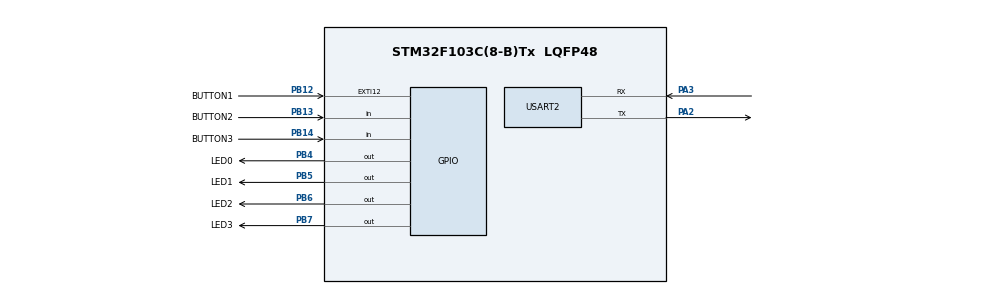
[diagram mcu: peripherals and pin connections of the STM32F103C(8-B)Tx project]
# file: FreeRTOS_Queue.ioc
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Mcu.Family=STM32F1
Mcu.Name=STM32F103C(8-B)Tx
Mcu.Package=LQFP48
NVIC.EXTI15_10_IRQn=true\:5\:0\:true\:false\:true\:true\:true\:true
NVIC.PriorityGroup=NVIC_PRIORITYGROUP_4
NVIC.USART2_IRQn=true\:0\:0\:false\:false\:true\:true\:true\:true
PA13.Mode=Serial_Wire
PA13.Signal=SYS_JTMS-SWDIO
PA14.Mode=Serial_Wire
PA14.Signal=SYS_JTCK-SWCLK
PA2.Mode=Asynchronous
PA2.Signal=USART2_TX
PA3.Mode=Asynchronous
PA3.Signal=USART2_RX
PB12.GPIO_Label=BUTTON1
PB12.GPIO_ModeDefaultEXTI=GPIO_MODE_IT_FALLING
PB12.GPIO_PuPd=GPIO_PULLUP
PB12.Signal=GPXTI12
PB13.GPIO_Label=BUTTON2
PB13.GPIO_PuPd=GPIO_PULLUP
PB13.Signal=GPIO_Input
PB14.GPIO_Label=BUTTON3
PB14.GPIO_PuPd=GPIO_PULLUP
PB14.Signal=GPIO_Input
PB4.GPIO_Label=LED0
PB4.Signal=GPIO_Output
PB5.GPIO_Label=LED1
PB5.Signal=GPIO_Output
PB6.GPIO_Label=LED2
PB6.Signal=GPIO_Output
PB7.GPIO_Label=LED3
PB7.Signal=GPIO_Output
ProjectManager.HeapSize=0x200
ProjectManager.StackSize=0x400
ProjectManager.TargetToolchain=STM32CubeIDE
RCC.APB1Freq_Value=8000000
RCC.APB2Freq_Value=8000000
USART2.VirtualMode=VM_ASYNC
board=custom

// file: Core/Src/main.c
/* USER CODE BEGIN Header */
/**
  ******************************************************************************
  * @file           : main.c
  * @brief          : Main program body
  ******************************************************************************
  * @attention
  *
  * Copyright (c) 2023 STMicroelectronics.
  * All rights reserved.
  *
  * This software is licensed under terms that can be found in the LICENSE file
  * in the root directory of this software component.
  * If no LICENSE file comes with this software, it is provided AS-IS.
  *
  ******************************************************************************
  */
/* USER CODE END Header */
#include "main.h"

/* USER CODE BEGIN PV */
TaskHandle_t   status_task_Handle;
xQueueHandle	button_event_queue;

static void Status_Led_Task( void *pvParameters );
static void Switch_Task( void *pvParameters );
/* USER CODE END PV */

void SystemClock_Config(void);
static void MX_GPIO_Init(void);
static void MX_USART2_UART_Init(void);

int main(void)
{

  /* MCU Configuration--------------------------------------------------------*/

  /* Reset of all peripherals, Initializes the Flash interface and the Systick. */
  LL_APB2_GRP1_EnableClock(LL_APB2_GRP1_PERIPH_AFIO);
  LL_APB1_GRP1_EnableClock(LL_APB1_GRP1_PERIPH_PWR);

  /* System interrupt init*/
  NVIC_SetPriorityGrouping(NVIC_PRIORITYGROUP_4);

  /* SysTick_IRQn interrupt configuration */
  NVIC_SetPriority(SysTick_IRQn, NVIC_EncodePriority(NVIC_GetPriorityGrouping(),15, 0));

  /** NOJTAG: JTAG-DP Disabled and SW-DP Enabled
  */
  LL_GPIO_AF_Remap_SWJ_NOJTAG();

  /* Configure the system clock */
  SystemClock_Config();

  /* Initialize all configured peripherals */
  MX_GPIO_Init();
  MX_USART2_UART_Init();
  /* USER CODE BEGIN 2 */
  UARTStdioConfig(USART2,true);
//  button_event_queue = xQueueCreate(5, sizeof(int));
  button_event_queue =  xQueueCreate(5, sizeof(button_event_t));
  xTaskCreate(Status_Led_Task, "statusLEDTask",configMINIMAL_STACK_SIZE, NULL, 2, &status_task_Handle);
  xTaskCreate(Switch_Task, "switchTask",configMINIMAL_STACK_SIZE, NULL, 1, NULL);

  /* USER CODE END 2 */

  /* Infinite loop */
  /* USER CODE BEGIN WHILE */
  vTaskStartScheduler();
  while (1)
  {
    /* USER CODE END WHILE */

  }
}

void SystemClock_Config(void)
{
  LL_FLASH_SetLatency(LL_FLASH_LATENCY_0);
  while(LL_FLASH_GetLatency()!= LL_FLASH_LATENCY_0)
  {
  }
  LL_RCC_HSI_SetCalibTrimming(16);
  LL_RCC_HSI_Enable();

   /* Wait till HSI is ready */
  while(LL_RCC_HSI_IsReady() != 1)
  {

  }
  LL_RCC_SetAHBPrescaler(LL_RCC_SYSCLK_DIV_1);
  LL_RCC_SetAPB1Prescaler(LL_RCC_APB1_DIV_1);
  LL_RCC_SetAPB2Prescaler(LL_RCC_APB2_DIV_1);
  LL_RCC_SetSysClkSource(LL_RCC_SYS_CLKSOURCE_HSI);

   /* Wait till System clock is ready */
  while(LL_RCC_GetSysClkSource() != LL_RCC_SYS_CLKSOURCE_STATUS_HSI)
  {

  }
  LL_Init1msTick(8000000);
  LL_SetSystemCoreClock(8000000);
}

static void MX_USART2_UART_Init(void)
{

  LL_USART_InitTypeDef USART_InitStruct = {0};

  LL_GPIO_InitTypeDef GPIO_InitStruct = {0};

  /* Peripheral clock enable */
  LL_APB1_GRP1_EnableClock(LL_APB1_GRP1_PERIPH_USART2);

  LL_APB2_GRP1_EnableClock(LL_APB2_GRP1_PERIPH_GPIOA);
  /**USART2 GPIO Configuration
  PA2   ------> USART2_TX
  PA3   ------> USART2_RX
  */
  GPIO_InitStruct.Pin = LL_GPIO_PIN_2;
  GPIO_InitStruct.Mode = LL_GPIO_MODE_ALTERNATE;
  GPIO_InitStruct.Speed = LL_GPIO_SPEED_FREQ_HIGH;
  GPIO_InitStruct.OutputType = LL_GPIO_OUTPUT_PUSHPULL;
  LL_GPIO_Init(GPIOA, &GPIO_InitStruct);

  GPIO_InitStruct.Pin = LL_GPIO_PIN_3;
  GPIO_InitStruct.Mode = LL_GPIO_MODE_FLOATING;
  LL_GPIO_Init(GPIOA, &GPIO_InitStruct);

  /* USART2 interrupt Init */
  NVIC_SetPriority(USART2_IRQn, NVIC_EncodePriority(NVIC_GetPriorityGrouping(),0, 0));
  NVIC_EnableIRQ(USART2_IRQn);

  USART_InitStruct.BaudRate = 115200;
  USART_InitStruct.DataWidth = LL_USART_DATAWIDTH_8B;
  USART_InitStruct.StopBits = LL_USART_STOPBITS_1;
  USART_InitStruct.Parity = LL_USART_PARITY_NONE;
  USART_InitStruct.TransferDirection = LL_USART_DIRECTION_TX_RX;
  USART_InitStruct.HardwareFlowControl = LL_USART_HWCONTROL_NONE;
  USART_InitStruct.OverSampling = LL_USART_OVERSAMPLING_16;
  LL_USART_Init(USART2, &USART_InitStruct);
  LL_USART_ConfigAsyncMode(USART2);
  LL_USART_Enable(USART2);

}

static void MX_GPIO_Init(void)
{
  LL_EXTI_InitTypeDef EXTI_InitStruct = {0};
  LL_GPIO_InitTypeDef GPIO_InitStruct = {0};

  /* GPIO Ports Clock Enable */
  LL_APB2_GRP1_EnableClock(LL_APB2_GRP1_PERIPH_GPIOA);
  LL_APB2_GRP1_EnableClock(LL_APB2_GRP1_PERIPH_GPIOB);

  /**/
  LL_GPIO_ResetOutputPin(GPIOB, LED0_Pin|LED1_Pin|LED2_Pin|LED3_Pin);

  /**/
  LL_GPIO_AF_SetEXTISource(LL_GPIO_AF_EXTI_PORTB, LL_GPIO_AF_EXTI_LINE12);

  /**/
  EXTI_InitStruct.Line_0_31 = LL_EXTI_LINE_12;
  EXTI_InitStruct.LineCommand = ENABLE;
  EXTI_InitStruct.Mode = LL_EXTI_MODE_IT;
  EXTI_InitStruct.Trigger = LL_EXTI_TRIGGER_FALLING;
  LL_EXTI_Init(&EXTI_InitStruct);

  /**/
  LL_GPIO_SetPinPull(BUTTON1_GPIO_Port, BUTTON1_Pin, LL_GPIO_PULL_UP);

  /**/
  LL_GPIO_SetPinMode(BUTTON1_GPIO_Port, BUTTON1_Pin, LL_GPIO_MODE_INPUT);

  /**/
  GPIO_InitStruct.Pin = BUTTON2_Pin|BUTTON3_Pin;
  GPIO_InitStruct.Mode = LL_GPIO_MODE_INPUT;
  GPIO_InitStruct.Pull = LL_GPIO_PULL_UP;
  LL_GPIO_Init(GPIOB, &GPIO_InitStruct);

  /**/
  GPIO_InitStruct.Pin = LED0_Pin|LED1_Pin|LED2_Pin|LED3_Pin;
  GPIO_InitStruct.Mode = LL_GPIO_MODE_OUTPUT;
  GPIO_InitStruct.Speed = LL_GPIO_SPEED_FREQ_LOW;
  GPIO_InitStruct.OutputType = LL_GPIO_OUTPUT_PUSHPULL;
  LL_GPIO_Init(GPIOB, &GPIO_InitStruct);

  /* EXTI interrupt init*/
  NVIC_SetPriority(EXTI15_10_IRQn, NVIC_EncodePriority(NVIC_GetPriorityGrouping(),5, 0));
  NVIC_EnableIRQ(EXTI15_10_IRQn);

}

/* USER CODE BEGIN 4 */
static void Status_Led_Task( void *pvParameters )
{
//	int	button_event;
	button_event_t button_event = {3, PRESSED};
	const char * button_event_name[] = {"PRESSED","RELEASED"};
	while(1)
	{
		xQueueReceive(button_event_queue, &button_event, portMAX_DELAY);
		if (button_event.status == PRESSED) 		LL_GPIO_TogglePin(LED0_GPIO_Port,LED3_Pin);
		UARTprintf("button %d %s ",button_event.button_num, button_event_name[button_event.status]);
	}
}

int		read_button(void)
{
	if (LL_GPIO_IsInputPinSet(BUTTON1_GPIO_Port, BUTTON3_Pin)) return RELEASED;
	else
		return PRESSED;
}
static void Switch_Task( void *pvParameters )
{
	uint32_t	button3_prev_state;
	uint32_t	button3_current_state;
	button3_prev_state = read_button();
	button_event_t button_event = {3, PRESSED};
	while(1)
	{
		button3_current_state = read_button();
		if (button3_prev_state != button3_current_state)
		{
			button3_prev_state = button3_current_state;
			button_event.status = button3_current_state;
			xQueueSend(button_event_queue,&button_event,portMAX_DELAY);

		}
		vTaskDelay(20);
	}
}
/* USER CODE END 4 */

void Error_Handler(void)
{
  __disable_irq();
  while (1)
  {
  }
}
